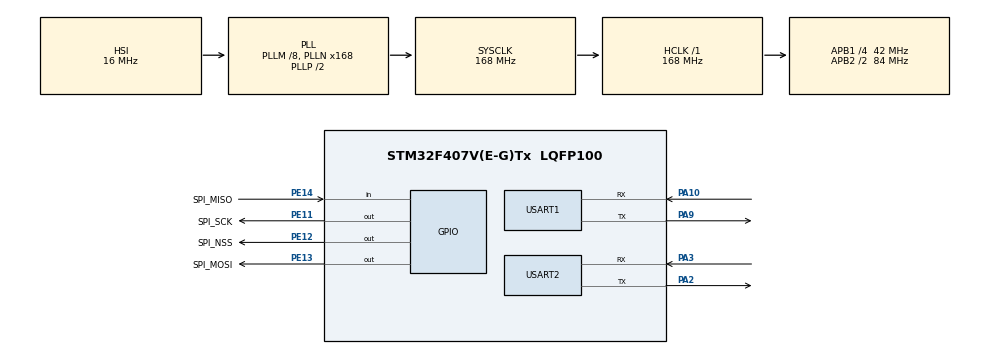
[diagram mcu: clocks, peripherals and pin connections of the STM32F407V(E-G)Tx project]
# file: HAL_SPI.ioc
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Mcu.Family=STM32F4
Mcu.Name=STM32F407V(E-G)Tx
Mcu.Package=LQFP100
NVIC.PriorityGroup=NVIC_PRIORITYGROUP_2
NVIC.USART1_IRQn=true\:1\:0\:true\:false\:true\:true\:true
NVIC.USART2_IRQn=true\:2\:0\:true\:false\:true\:true\:true
PA10.Mode=Asynchronous
PA10.Signal=USART1_RX
PA2.Mode=Asynchronous
PA2.Signal=USART2_TX
PA3.Mode=Asynchronous
PA3.Signal=USART2_RX
PA9.Mode=Asynchronous
PA9.Signal=USART1_TX
PE11.GPIO_Label=SPI_SCK
PE11.Signal=GPIO_Output
PE12.GPIO_Label=SPI_NSS
PE12.Signal=GPIO_Output
PE13.GPIO_Label=SPI_MOSI
PE13.Signal=GPIO_Output
PE14.GPIO_Label=SPI_MISO
PE14.Signal=GPIO_Input
PH0-OSC_IN.Mode=HSE-External-Oscillator
PH0-OSC_IN.Signal=RCC_OSC_IN
PH1-OSC_OUT.Mode=HSE-External-Oscillator
PH1-OSC_OUT.Signal=RCC_OSC_OUT
ProjectManager.HeapSize=0x200
ProjectManager.StackSize=0x400
ProjectManager.TargetToolchain=MDK-ARM V5.27
RCC.48MHZClocksFreq_Value=84000000
RCC.AHBFreq_Value=168000000
RCC.APB1CLKDivider=RCC_HCLK_DIV4
RCC.APB1Freq_Value=42000000
RCC.APB1TimFreq_Value=84000000
RCC.APB2CLKDivider=RCC_HCLK_DIV2
RCC.APB2Freq_Value=84000000
RCC.APB2TimFreq_Value=168000000
RCC.CortexFreq_Value=168000000
RCC.HCLKFreq_Value=168000000
RCC.HSE_VALUE=8000000
RCC.HSI_VALUE=16000000
RCC.LSE_VALUE=32768
RCC.PLLM=8
RCC.PLLN=168
RCC.SYSCLKFreq_VALUE=168000000
RCC.SYSCLKSource=RCC_SYSCLKSOURCE_PLLCLK
RCC.VCOOutputFreq_Value=336000000
USART1.VirtualMode=VM_ASYNC
USART2.VirtualMode=VM_ASYNC
board=custom

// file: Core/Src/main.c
/* USER CODE BEGIN Header */
/**
  ******************************************************************************
  * @file           : main.c
  * @brief          : Main program body
  ******************************************************************************
  * @attention
  *
  * <h2><center>&copy; Copyright (c) 2021 STMicroelectronics.
  * All rights reserved.</center></h2>
  *
  * This software component is licensed by ST under BSD 3-Clause license,
  * the "License"; You may not use this file except in compliance with the
  * License. You may obtain a copy of the License at:
  *                        opensource.org/licenses/BSD-3-Clause
  *
  ******************************************************************************
  */
/* USER CODE END Header */
#include "main.h"
#include "usart.h"
#include "gpio.h"

/* USER CODE BEGIN Includes */
#include "ht7038.h"
#include "math.h"
/* USER CODE END Includes */

/* USER CODE BEGIN PD */
#define CURRENT_DAT_TIMES 256
#define DATA_RATIO 94
#define TYPE_NUM 8
#define FEATURE_NUM 5
#define buff_SIZE 32
/* USER CODE END PD */

/* USER CODE BEGIN PV */
//A相电流有效值 A相有功功率 A相无功功率 A相功率因数 A相电流与电压相角
int feature_flash[TYPE_NUM][FEATURE_NUM] = {
     1082,    9,        26,      0,   -524344,   //没有插任何电器
     7555,   636,      265,     0,   0,   //灯带                   1         1
     10235,  -1476,    4110,    0,  0,   //电风扇                  2         2
     1320,   122,      774,     0,   0,     //节能灯               4         3
     2254,   12,       368,     0,    0,      //树莓派             8         4
     528,    154,       450,   0,     0,                   //盖佬的电阻        16
     1749,    338 ,     453,   0,     0,   //自制1号                                32
     860000, 115234, 343953,   0,   0,       //电热器             64

};

//有关计算类别的变量
/********************************/
uint32_t count;
float distance = 0;
int class_min;
int HT7038[FEATURE_NUM] = {0};
//有功 无功
int CalcFeature[4] = {0};
float temp_f32 = 0.0;
uint32_t temp_u32 = 0;
long int temp_long = 0;

//均值
int Feature_Buffer[3][buff_SIZE] = {0};
int average[4] = {0};
uint32_t buff_count = 0;
/********************************/

unsigned int temp;

int cnt;

int tx_buf[10] = {0};
int cnt;

uint8_t end[3]= {0xff,0xff,0xff};
uint8_t UART2_RxBuffer;
uint8_t mode = 0;
uint8_t mat_cnt = 0;

uint8_t yougong_p, yougong_sum, yougong_avg, yougong_final, yougong_s;

uint8_t wugong_p, wugong_sum, wugong_avg, wugong_final, wugong_s;

uint8_t youxiao_c, youxiao_sum, youxiao_avg, youxiao_final, youxiao_s;

uint8_t yinshu, yinshu_sum, yinshu_avg, yinshu_final, yinshu_s;

uint8_t xiangjiao, xiangjiao_sum, xiangjiao_avg, xiangjiao_final, xiangjiao_s;
/* USER CODE END PV */

void SystemClock_Config(void);
/* USER CODE BEGIN PFP */
void CurrentDataReadFun(void);
/* USER CODE END PFP */

/* USER CODE BEGIN 0 */
#include "stdio.h"
int fputc(int ch, FILE *f){
uint8_t temp[1] = {ch};
HAL_UART_Transmit(&huart1, temp, 1, 2);//huart1需要根据你的配置修改

return ch;
}

/**
  * @brief  串口发送函数
  * @retval None
  */
#include "stdio.h"
#include "stdarg.h"
#include "string.h"

#define    TXBUF_SIZE_MAX    100

void uartx_printf(UART_HandleTypeDef huartx, const char *format, ...)
{
    va_list args;
    uint32_t length;
    uint8_t txbuf[TXBUF_SIZE_MAX] = {0};

    va_start(args, format);
    length = vsnprintf((char *)txbuf, sizeof(txbuf), (char *)format, args);
    va_end(args);
    HAL_UART_Transmit(&huartx, (uint8_t *)txbuf, length, HAL_MAX_DELAY);
    memset(txbuf, 0, TXBUF_SIZE_MAX);
};
/* USER CODE END 0 */

int main(void)
{
  /* USER CODE BEGIN 1 */
     int i, j;

  /* USER CODE END 1 */

  /* MCU Configuration--------------------------------------------------------*/

  /* Reset of all peripherals, Initializes the Flash interface and the Systick. */
  HAL_Init();

  /* Configure the system clock */
  SystemClock_Config();

  /* Initialize all configured peripherals */
  MX_GPIO_Init();
  MX_USART1_UART_Init();
  MX_USART2_UART_Init();
  /* USER CODE BEGIN 2 */
  HAL_UART_Receive_IT(&huart2, (uint8_t*)&UART2_RxBuffer, 1); //开启串口中断
	att7053_Init();
  /* USER CODE END 2 */

  /* Infinite loop */
  /* USER CODE BEGIN WHILE */
  while (1)
  {
      temp_u32 = 0;
      temp_f32 = 0.0;

      //读取特征量到HT7038
      CurrentDataReadFun();

      //有功无功均值
      for(i = 0;i < 3;i++){
          temp_long = 0;
          for(j = 0; j < buff_SIZE;j++){
              temp_long += Feature_Buffer[i][j];
          }
          temp_u32 = temp_long/buff_SIZE;
          average[i] = temp_u32;
          printf("%d ",temp_u32);
      }
      printf("\r\n");
      //识别模式
      if(!mode){

          //初始化参数
          distance = pow(average[0]/10,2) + pow(average[1]/10,2); //+ pow(average[2]/10,2);
          //printf("0: %f ",distance);
          class_min = 0;
          //根据有功无功建立叠加表
          for(i = 1;i < (1 <<(TYPE_NUM-1));i++){
              CalcFeature[0] =
                  feature_flash[1][1] * (i 	   &0x01)   +
                  feature_flash[2][1] * ((i>>1)&0x01) +
                  feature_flash[3][1] * ((i>>2)&0x01) +
                  feature_flash[4][1] * ((i>>3)&0x01) +
                  feature_flash[5][1] * ((i>>4)&0x01) +
                  feature_flash[6][1] * ((i>>5)&0x01) +
                  feature_flash[7][1] * ((i>>6)&0x01) ;

              CalcFeature[1] =
                  feature_flash[1][2] * (i 	 &0x01)   +
                  feature_flash[2][2] * ((i>>1)&0x01) +
                  feature_flash[3][2] * ((i>>2)&0x01) +
                  feature_flash[4][2] * ((i>>3)&0x01) +
                  feature_flash[5][2] * ((i>>4)&0x01) +
                  feature_flash[6][2] * ((i>>5)&0x01) +
                  feature_flash[7][2] * ((i>>6)&0x01) ;

              CalcFeature[2] =
                  feature_flash[1][2] * (i 	 &0x01)   +
                  feature_flash[2][2] * ((i>>1)&0x01) +
                  feature_flash[3][2] * ((i>>2)&0x01) +
                  feature_flash[4][2] * ((i>>3)&0x01) +
                  feature_flash[5][2] * ((i>>4)&0x01) +
                  feature_flash[6][2] * ((i>>5)&0x01) +
                  feature_flash[7][2] * ((i>>6)&0x01) ;
          //最小欧拉距离
              temp_f32 = pow(CalcFeature[0]/10 - average[0]/10,2) + pow(CalcFeature[1]/10 - average[1]/10,2); //+ pow(CalcFeature[2]/10 - average[2]/10,2);
              //printf("%d: %d %d %f ",i,CalcFeature[0],CalcFeature[1],temp_f32);
              if(temp_f32 < distance){
                  distance = temp_f32;
//                  if(average[0]>110000 && average[1]>340000)
//                    i = 7;
                  class_min = i;
                  if(average[2] > 780000 && average[2] < 800000)
                    class_min = 64;
              }
          }

          printf("class: %d\r\n",class_min);
          printf("phase: %f\r\n",(float)HT7038[4]*0.000171661);
          printf("line freq: %f\r\n",(float)HT7038[3]/8192.0);

          //uartx_printf(huart2, "t0.txt=\"用电器%d\"", class_min);
          //1234567
          uartx_printf(huart2, "t0.txt=\"");
          for(i = 1;i < TYPE_NUM;i++){
              if(class_min&(0x01<<(i-1))){
                  uartx_printf(huart2, "用电器%d ", i);
              }
          }
          uartx_printf(huart2, "\"", i);
          HAL_UART_Transmit(&huart2,end,3,0xffff);

          uartx_printf(huart2, "n1.val=%d", tx_buf[2]);
          HAL_UART_Transmit(&huart2,end,3,0xffff);

          uartx_printf(huart2, "n2.val=%d", (int)HT7038[4]*0.000171661);
          HAL_UART_Transmit(&huart2,end,3,0xffff);
      }

      /*学习模式*/
      if(mode)
      {
          if(mat_cnt==0){
            //第0行是底噪  不清空
              feature_flash[mat_cnt][1] += average[0];
              feature_flash[mat_cnt][2] += average[1];
            //清空
              for(i = 1;i < TYPE_NUM;i++){
                  for(j = 0; j < FEATURE_NUM;j++){
                      feature_flash[i][j] = 0;
                  }
              }
          }
          else{
            //替换
              feature_flash[mat_cnt][1] = average[0];
              feature_flash[mat_cnt][2] = average[1];
          }

          mat_cnt++;
          if(mat_cnt>=TYPE_NUM)
                mat_cnt = 0;

          uartx_printf(huart2, "t8.txt=\"学习完成\"");
          HAL_UART_Transmit(&huart2,end,3,0xffff);
          printf("学习完成\r\n");

          //打印出来看
          for(i = 0;i < TYPE_NUM;i++){
              for(j = 0; j < FEATURE_NUM;j++){
                  printf("%d ",feature_flash[i][j]);
              }
              printf("\r\n");
          }

          mode = 0;
          HAL_Delay(2000);
      }

    /* USER CODE END WHILE */

    /* USER CODE BEGIN 3 */
    HAL_Delay(80);
  }
  /* USER CODE END 3 */
}

void SystemClock_Config(void)
{
  RCC_OscInitTypeDef RCC_OscInitStruct = {0};
  RCC_ClkInitTypeDef RCC_ClkInitStruct = {0};

  /** Configure the main internal regulator output voltage
  */
  __HAL_RCC_PWR_CLK_ENABLE();
  __HAL_PWR_VOLTAGESCALING_CONFIG(PWR_REGULATOR_VOLTAGE_SCALE1);
  /** Initializes the RCC Oscillators according to the specified parameters
  * in the RCC_OscInitTypeDef structure.
  */
  RCC_OscInitStruct.OscillatorType = RCC_OSCILLATORTYPE_HSI;
  RCC_OscInitStruct.HSIState = RCC_HSI_ON;
  RCC_OscInitStruct.HSICalibrationValue = RCC_HSICALIBRATION_DEFAULT;
  RCC_OscInitStruct.PLL.PLLState = RCC_PLL_ON;
  RCC_OscInitStruct.PLL.PLLSource = RCC_PLLSOURCE_HSI;
  RCC_OscInitStruct.PLL.PLLM = 8;
  RCC_OscInitStruct.PLL.PLLN = 168;
  RCC_OscInitStruct.PLL.PLLP = RCC_PLLP_DIV2;
  RCC_OscInitStruct.PLL.PLLQ = 4;
  if (HAL_RCC_OscConfig(&RCC_OscInitStruct) != HAL_OK)
  {
    Error_Handler();
  }
  /** Initializes the CPU, AHB and APB buses clocks
  */
  RCC_ClkInitStruct.ClockType = RCC_CLOCKTYPE_HCLK|RCC_CLOCKTYPE_SYSCLK
                              |RCC_CLOCKTYPE_PCLK1|RCC_CLOCKTYPE_PCLK2;
  RCC_ClkInitStruct.SYSCLKSource = RCC_SYSCLKSOURCE_PLLCLK;
  RCC_ClkInitStruct.AHBCLKDivider = RCC_SYSCLK_DIV1;
  RCC_ClkInitStruct.APB1CLKDivider = RCC_HCLK_DIV4;
  RCC_ClkInitStruct.APB2CLKDivider = RCC_HCLK_DIV2;

  if (HAL_RCC_ClockConfig(&RCC_ClkInitStruct, FLASH_LATENCY_5) != HAL_OK)
  {
    Error_Handler();
  }
}

/* USER CODE BEGIN 4 */
void CurrentDataReadFun()
{
  int temp = 0;

  tx_buf[0] = 0xff;
	tx_buf[1] = att7053_Read(0x0D); //A相电压

	tx_buf[2] = att7053_Read(0x10); //A相电流有效值
  HT7038[0] = tx_buf[2] - feature_flash[0][0];  //减去电流偏置

  temp = att7053_Read(0x01); //A相有功功率
  if(temp>8388608) tx_buf[3] = temp - 16777216;
  else tx_buf[3] = temp;
  HT7038[1] = tx_buf[3] - feature_flash[0][1];  //减去有功偏置

  temp = att7053_Read(0x05); //A相无功功率
  if(temp>8388608) tx_buf[4] = temp - 16777216;
  else tx_buf[4] = temp;
  HT7038[2] = tx_buf[4] - feature_flash[0][2];  //减去无功偏置

  temp = att7053_Read(0x1c); //A相线频率
  //if(temp>8388608) tx_buf[5] = temp - 16777216;
  //else tx_buf[5] = temp;
  tx_buf[5] = temp;
  HT7038[3] = tx_buf[5];

  temp = att7053_Read(0x18);  //A相电流与电压相角
  if(temp>1048576) tx_buf[6] = temp - 16777216;
  else tx_buf[6] = temp;
  HT7038[4] = tx_buf[6] - feature_flash[0][4];//减去相角偏置

  tx_buf[7] = 0xfe;

  Feature_Buffer[0][buff_count] = HT7038[1];
  Feature_Buffer[1][buff_count] = HT7038[2];
  Feature_Buffer[2][buff_count] = HT7038[0]; //电流有效值
  buff_count++;
  if(buff_count>=buff_SIZE)
      buff_count = 0;

  printf("\r\n1.%d\r\n", tx_buf[2]);
//  printf("\r\n2.%d\r\n", tx_buf[3]);
//  printf("\r\n3.%d\r\n", tx_buf[4]);
//  printf("\r\n4.%d\r\n", tx_buf[5]);
//  printf("\r\n5.%d\r\n", tx_buf[6]);

}

void HAL_UART_RxCpltCallback(UART_HandleTypeDef *huart)
{
   if(huart->Instance == huart2.Instance)
   {
      if(UART2_RxBuffer == 0x01)
      {
          uartx_printf(huart2, "t8.txt=\"开始清理全部特征参数\"");
          HAL_UART_Transmit(&huart2,end,3,0xffff);
          uartx_printf(huart2, "t8.txt=\"学习中...\"");
          HAL_UART_Transmit(&huart2,end,3,0xffff);
          mode = 1; //模式切换
      }
      HAL_UART_Receive_IT(&huart2, (uint8_t*)&UART2_RxBuffer, 1);
   }
}
/* USER CODE END 4 */

void Error_Handler(void)
{
}

/************************ (C) COPYRIGHT STMicroelectronics *****END OF FILE****/
